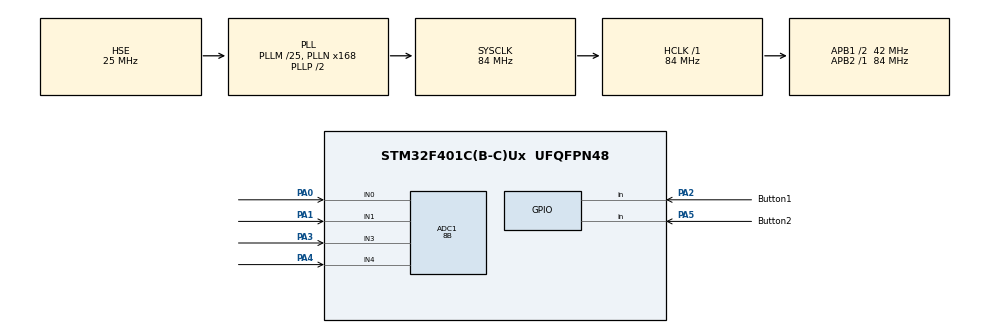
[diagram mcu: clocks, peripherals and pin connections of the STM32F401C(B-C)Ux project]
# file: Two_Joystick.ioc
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Mcu.Family=STM32F4
RCC.PLLSourceVirtual=RCC_PLLSOURCE_HSE
PA2.GPIO_PuPd=GPIO_PULLUP
Dma.ADC1.0.Instance=DMA2_Stream0
RCC.CortexFreq_Value=84000000
ADC1.Rank-0\#ChannelRegularConversion=1
ADC1.ContinuousConvMode=ENABLE
PH1\ -\ OSC_OUT.Mode=HSE-External-Oscillator
RCC.APB1CLKDivider=RCC_HCLK_DIV2
ADC1.SamplingTime-2\#ChannelRegularConversion=ADC_SAMPLETIME_144CYCLES
RCC.SYSCLKSource=RCC_SYSCLKSOURCE_PLLCLK
ProjectManager.StackSize=0x400
PA0-WKUP.Signal=ADCx_IN0
PA13.Signal=SYS_JTMS-SWDIO
Dma.ADC1.0.PeriphDataAlignment=DMA_PDATAALIGN_WORD
PH0\ -\ OSC_IN.Mode=HSE-External-Oscillator
PH0\ -\ OSC_IN.Signal=RCC_OSC_IN
ProjectManager.TargetToolchain=STM32CubeIDE
Dma.ADC1.0.Mode=DMA_CIRCULAR
ADC1.Channel-3\#ChannelRegularConversion=ADC_CHANNEL_4
RCC.HCLKFreq_Value=84000000
SH.ADCx_IN3.0=ADC1_IN3,IN3
ADC1.Resolution=ADC_RESOLUTION_8B
Dma.ADC1.0.Priority=DMA_PRIORITY_LOW
RCC.APB2TimFreq_Value=84000000
ADC1.Channel-1\#ChannelRegularConversion=ADC_CHANNEL_1
Dma.ADC1.0.Direction=DMA_PERIPH_TO_MEMORY
ADC1.Channel-2\#ChannelRegularConversion=ADC_CHANNEL_3
NVIC.DMA2_Stream0_IRQn=true\:0\:0\:false\:false\:true\:false\:true
RCC.LSE_VALUE=32768
Dma.ADC1.0.MemDataAlignment=DMA_MDATAALIGN_WORD
PA1.Signal=ADCx_IN1
RCC.AHBFreq_Value=84000000
PA5.Signal=GPIO_Input
ADC1.Channel-0\#ChannelRegularConversion=ADC_CHANNEL_0
RCC.HSE_VALUE=25000000
PH1\ -\ OSC_OUT.Signal=RCC_OSC_OUT
ADC1.ScanConvMode=ENABLE
board=custom
RCC.VCOOutputFreq_Value=168000000
RCC.APB2Freq_Value=84000000
ADC1.Rank-2\#ChannelRegularConversion=3
PA14.Mode=Serial_Wire
PA5.GPIO_PuPd=GPIO_PULLUP
Dma.ADC1.0.PeriphInc=DMA_PINC_DISABLE
SH.ADCx_IN4.0=ADC1_IN4,IN4
SH.ADCx_IN0.0=ADC1_IN0,IN0
ADC1.DMAContinuousRequests=ENABLE
ADC1.NbrOfConversion=4
PA13.Mode=Serial_Wire
Mcu.Name=STM32F401C(B-C)Ux
ADC1.SamplingTime-0\#ChannelRegularConversion=ADC_SAMPLETIME_144CYCLES
PA2.Signal=GPIO_Input
RCC.48MHZClocksFreq_Value=42000000
PA4.Signal=ADCx_IN4
ADC1.SamplingTime-1\#ChannelRegularConversion=ADC_SAMPLETIME_144CYCLES
RCC.SYSCLKFreq_VALUE=84000000
Mcu.Package=UFQFPN48
ADC1.master=1
PA5.GPIO_Label=Button2
ADC1.Rank-3\#ChannelRegularConversion=4
ADC1.SamplingTime-3\#ChannelRegularConversion=ADC_SAMPLETIME_144CYCLES
ADC1.Rank-1\#ChannelRegularConversion=2
PA2.GPIO_Label=Button1
PA14.Signal=SYS_JTCK-SWCLK
Dma.ADC1.0.MemInc=DMA_MINC_ENABLE
ProjectManager.HeapSize=0x200
RCC.HSI_VALUE=16000000
NVIC.PriorityGroup=NVIC_PRIORITYGROUP_4
ADC1.NbrOfConversionFlag=1
SH.ADCx_IN1.0=ADC1_IN1,IN1
RCC.PLLM=25
RCC.PLLN=168
RCC.APB1TimFreq_Value=84000000
Dma.ADC1.0.FIFOMode=DMA_FIFOMODE_DISABLE
Dma.Request0=ADC1
RCC.APB1Freq_Value=42000000
PA3.Signal=ADCx_IN3

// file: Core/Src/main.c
/* USER CODE BEGIN Header */
/**
  ******************************************************************************
  * @file           : main.c
  * @brief          : Main program body
  ******************************************************************************
  * @attention
  *
  * <h2><center>&copy; Copyright (c) 2023 STMicroelectronics.
  * All rights reserved.</center></h2>
  *
  * This software component is licensed by ST under BSD 3-Clause license,
  * the "License"; You may not use this file except in compliance with the
  * License. You may obtain a copy of the License at:
  *                        opensource.org/licenses/BSD-3-Clause
  *
  ******************************************************************************
  */
/* USER CODE END Header */
#include "main.h"
#include "adc.h"
#include "dma.h"
#include "gpio.h"

/* USER CODE BEGIN PM */

  	  /* READ ADC */

		int ADC_Read[4] = {0};

		/* ADC JOYSTICK 1 */

			int Button1 = 0;
			int Joystick_x = 0;
			int Joystick_y = 0;
			int Omega = 0;
			int State_button = 0;
			int Switch = 0;
			long last_time = 0, current_time = 0;;

		/* ADC JOYSTICK 2 */

			int Button2 = 0;
			int Joystick_Vx = 0;
			int Joystick_Vy = 0;
			int Omega2 = 0;
			int State_button2 = 0;
			int Switch2 = 0;
			long last_time2 = 0, current_time2 = 0;;

/* USER CODE END PM */

void SystemClock_Config(void);
/* USER CODE BEGIN PFP */

		/* MAP JOYSTICK */

			double map(double x, double in_min, double in_max, double out_min, double out_max) {
			  return (x - in_min) * (out_max - out_min) / (in_max - in_min) + out_min;
			}

		/* MAP JOYSTICK 1 */

			void Joystick() {
				  if (ADC_Read[0] >= 0 && ADC_Read[0] <= 120){
					  Joystick_x = map(ADC_Read[0], 0, 120, 0, 128);
				  }
				  if (ADC_Read[0] >= 130 && ADC_Read[0] <= 255){
					  Joystick_x = map(ADC_Read[0], 130, 255, 128, 255);
				  }
				  if (ADC_Read[0] > 120 && ADC_Read[0] < 130){
					  Joystick_x = 128;
				  }

				  if (ADC_Read[1] >= 0 && ADC_Read[1] <= 120){
					  Joystick_y = map(ADC_Read[1], 0, 120, 0, 128);
				  }
				  if (ADC_Read[1] >= 130 && ADC_Read[1] <= 255){
					  Joystick_y = map(ADC_Read[1], 130, 255, 128, 255);
				  }
				  if (ADC_Read[1] > 120 && ADC_Read[1] < 130){
					  Joystick_y = 128;
				  }

				  if (Switch == 0){
					  Joystick_y = Joystick_y;
					  Omega = 128;
				  }
				  else {
					  Omega = Joystick_y;
					  Joystick_y = 128;
				  }
			}

		/* MAP JOYSTICK 2 */

			void Joystick_1() {
				 if (ADC_Read[2] >= 0 && ADC_Read[2] <= 120){
						Joystick_Vx = map(ADC_Read[2], 0, 120, 0, 128);
				 }
				 if (ADC_Read[2] >= 130 && ADC_Read[2] <= 255){
				        Joystick_Vx = map(ADC_Read[2], 130, 255, 128, 255);
				 }
				 if (ADC_Read[2] > 120 && ADC_Read[2] < 130){
						Joystick_Vx = 128;
				 }

				 if (ADC_Read[3] >= 0 && ADC_Read[3] <= 120){
						Joystick_Vy = map(ADC_Read[3], 0, 120, 0, 128);
				 }
				 if (ADC_Read[3] >= 130 && ADC_Read[3] <= 255){
					    Joystick_Vy = map(ADC_Read[3], 130, 255, 128, 255);
				 }
				 if (ADC_Read[3] > 120 && ADC_Read[3] < 130){
					 	Joystick_Vy = 128;
				 }

				 if (Switch2 == 0){
						Joystick_Vy = Joystick_Vy;
						Omega2 = 128;
				 }
				 else {
						Omega2 = Joystick_Vy;
						Joystick_Vy = 128;
				 }

			}

/* USER CODE END PFP */

int main(void)
{

  /* MCU Configuration--------------------------------------------------------*/

  /* Reset of all peripherals, Initializes the Flash interface and the Systick. */
  HAL_Init();

  /* Configure the system clock */
  SystemClock_Config();

  /* Initialize all configured peripherals */
  MX_GPIO_Init();
  MX_DMA_Init();
  MX_ADC1_Init();
  /* USER CODE BEGIN 2 */

  	  /* READ ADC */

  	  	  HAL_ADC_Start_DMA(&hadc1, &ADC_Read, 4);

  /* USER CODE END 2 */

  /* Infinite loop */
  while (1)
  {

    /* USER CODE BEGIN 3 */

		  /* BUTTON SWITCK 1 */

			  Button1 = HAL_GPIO_ReadPin(Button1_GPIO_Port, Button1_Pin);

			  if (Button1 == 0 && State_button == 0){
				  State_button = 1;
				  last_time = HAL_GetTick();
			  }
			  if (Button1 == 1 && State_button == 1){
				  State_button = 0;
				  current_time = HAL_GetTick();
			  }
			  if (current_time - last_time > 100){
				  last_time = current_time;
				  Switch = !Switch;
			  }

			  Joystick();

		  /* BUTTON SWITCK 2 */

			  Button2 = HAL_GPIO_ReadPin(Button2_GPIO_Port, Button2_Pin);

			  if (Button2 == 0 && State_button2 == 0){
				  State_button2 = 1;
				  last_time2 = HAL_GetTick();
			  }
			  if (Button2 == 1 && State_button2 == 1){
				  State_button2 = 0;
				  current_time2 = HAL_GetTick();
			  }
			  if (current_time2 - last_time2 > 100){
				  last_time2 = current_time2;
				  Switch2 = !Switch2;
			  }

			  Joystick_1();

  }
  /* USER CODE END 3 */
}

void SystemClock_Config(void)
{
  RCC_OscInitTypeDef RCC_OscInitStruct = {0};
  RCC_ClkInitTypeDef RCC_ClkInitStruct = {0};

  /** Configure the main internal regulator output voltage
  */
  __HAL_RCC_PWR_CLK_ENABLE();
  __HAL_PWR_VOLTAGESCALING_CONFIG(PWR_REGULATOR_VOLTAGE_SCALE2);
  /** Initializes the RCC Oscillators according to the specified parameters
  * in the RCC_OscInitTypeDef structure.
  */
  RCC_OscInitStruct.OscillatorType = RCC_OSCILLATORTYPE_HSE;
  RCC_OscInitStruct.HSEState = RCC_HSE_ON;
  RCC_OscInitStruct.PLL.PLLState = RCC_PLL_ON;
  RCC_OscInitStruct.PLL.PLLSource = RCC_PLLSOURCE_HSE;
  RCC_OscInitStruct.PLL.PLLM = 25;
  RCC_OscInitStruct.PLL.PLLN = 168;
  RCC_OscInitStruct.PLL.PLLP = RCC_PLLP_DIV2;
  RCC_OscInitStruct.PLL.PLLQ = 4;
  if (HAL_RCC_OscConfig(&RCC_OscInitStruct) != HAL_OK)
  {
    Error_Handler();
  }
  /** Initializes the CPU, AHB and APB buses clocks
  */
  RCC_ClkInitStruct.ClockType = RCC_CLOCKTYPE_HCLK|RCC_CLOCKTYPE_SYSCLK
                              |RCC_CLOCKTYPE_PCLK1|RCC_CLOCKTYPE_PCLK2;
  RCC_ClkInitStruct.SYSCLKSource = RCC_SYSCLKSOURCE_PLLCLK;
  RCC_ClkInitStruct.AHBCLKDivider = RCC_SYSCLK_DIV1;
  RCC_ClkInitStruct.APB1CLKDivider = RCC_HCLK_DIV2;
  RCC_ClkInitStruct.APB2CLKDivider = RCC_HCLK_DIV1;

  if (HAL_RCC_ClockConfig(&RCC_ClkInitStruct, FLASH_LATENCY_2) != HAL_OK)
  {
    Error_Handler();
  }
}

void Error_Handler(void)
{
  __disable_irq();
  while (1)
  {
  }
}

/************************ (C) COPYRIGHT STMicroelectronics *****END OF FILE****/
